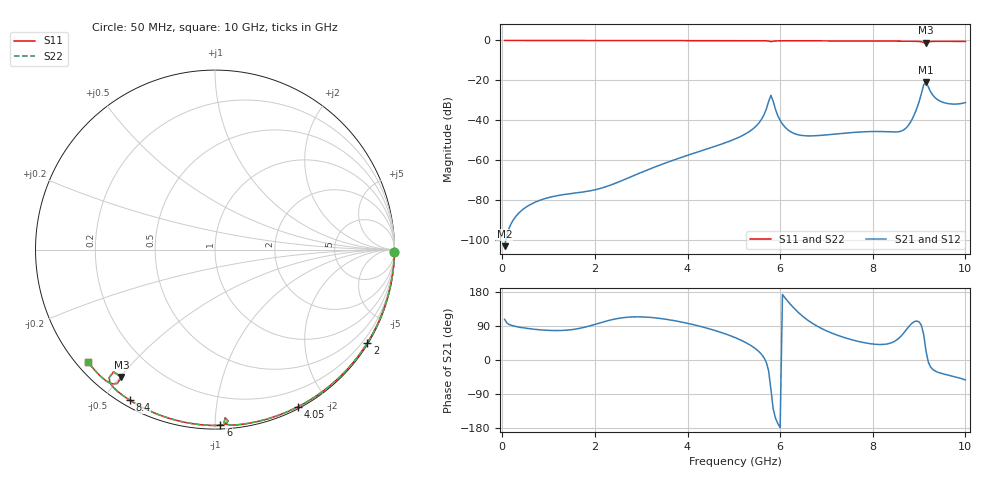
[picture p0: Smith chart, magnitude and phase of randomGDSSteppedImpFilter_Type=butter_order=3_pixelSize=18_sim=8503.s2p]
! freq	dB(S11)	phase(S11)	dB(S12)	phase(S12)
!  dB(S21)	phase(S21)	dB(S22)	phase(S22)
!S-par simulation data
#  GHz  S  DB  R 50
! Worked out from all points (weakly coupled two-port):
!   200 points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, 50 MHz to 10 GHz, reference 50 ohm
!   highest |S21| = -20.90 dB at 9.15 GHz (marker M1); lowest = -103.0 dB at 50 MHz (marker M2)
!   lowest |S11| = -1.1 dB at 9.15 GHz (marker M3), VSWR 15.82, Z = 3.97 - j25.2 ohm
!   |S11| at or under -10 dB: nowhere
!   |S22| runs from -1.1 to 0.0 dB; largest |S21 - S12| = 0
!   S11 on the Smith chart (normalised r, x): 50 MHz: open; 2 GHz: 0.03, -3.54; 4.05 GHz: 0.02, -1.66; 6 GHz: 0.02, -1.03; 8.4 GHz: 0.02, -0.58; 10 GHz: 0.03, -0.38
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0.05  -0.00 -0.8  -103.00 107.3  -103.00 107.3  -0.00 -0.8
0.8  -0.01 -12.8  -80.12 79.8  -80.12 79.8  -0.01 -12.8
1.75  -0.04 -27.7  -75.84 85.7  -75.84 85.7  -0.04 -27.7
2  -0.04 -31.5  -74.78 93.9  -74.78 93.9  -0.04 -31.5
3.4  -0.07 -52.6  -62.42 109.8  -62.42 109.8  -0.07 -52.6
4.05  -0.09 -62.1  -57.13 95.4  -57.13 95.4  -0.09 -62.1
5.05  -0.12 -76.2  -49.10 57.9  -49.10 57.9  -0.12 -76.2
5.55  -0.14 -83.3  -41.04 21.2  -41.04 21.2  -0.14 -83.3
5.65  -0.17 -85.0  -37.27 6.3  -37.27 6.3  -0.17 -85.0
5.8  -0.55 -86.6  -27.47 -77.0  -27.47 -77.0  -0.56 -86.6
6  -0.19 -88.2  -40.03 -178.3  -40.03 -178.3  -0.19 -88.2
6.25  -0.18 -91.8  -46.02 143.1  -46.02 143.1  -0.18 -91.8
6.7  -0.20 -97.8  -47.77 96.5  -47.77 96.5  -0.20 -97.8
8.35  -0.31 -118.9  -45.75 43.5  -45.75 43.5  -0.31 -118.9
8.4  -0.32 -119.5  -45.80 45.3  -45.80 45.3  -0.32 -119.5
8.65  -0.35 -122.8  -45.02 68.6  -45.02 68.6  -0.35 -122.8
8.8  -0.38 -124.9  -41.46 91.4  -41.46 91.4  -0.38 -124.9
9.1  -1.05 -129.7  -22.19 66.8  -22.19 66.8  -1.06 -129.7
9.15  -1.10 -126.3  -20.90 23.3  -20.90 23.3  -1.10 -126.3
9.3  -0.47 -128.5  -27.50 -25.4  -27.50 -25.4  -0.47 -128.4
9.45  -0.44 -131.0  -30.35 -34.1  -30.35 -34.1  -0.44 -131.0
10  -0.50 -138.6  -31.10 -52.7  -31.10 -52.7  -0.50 -138.6
